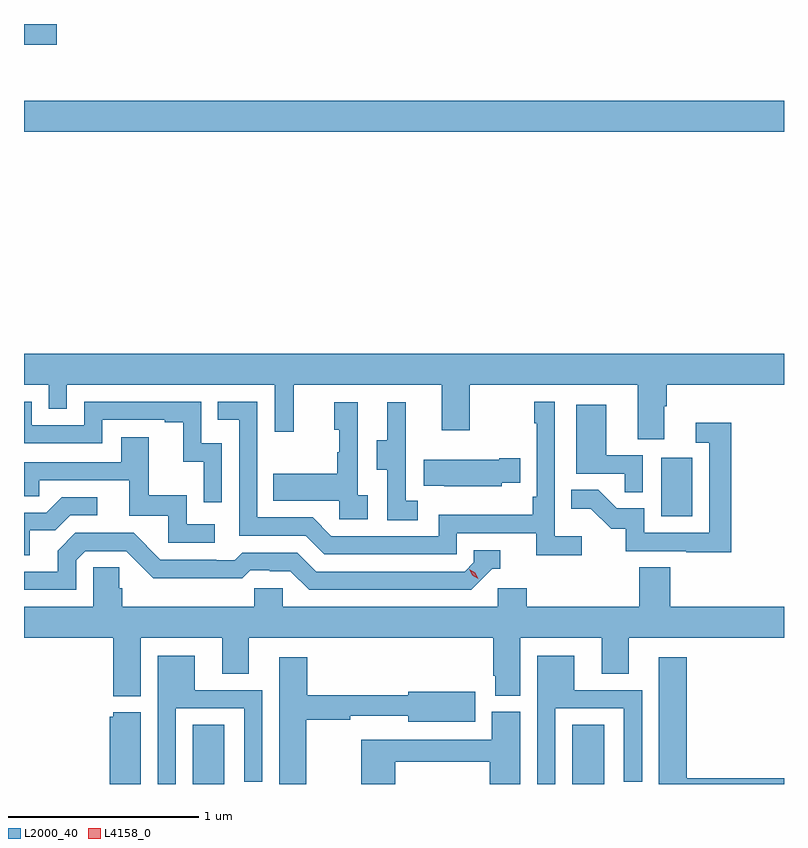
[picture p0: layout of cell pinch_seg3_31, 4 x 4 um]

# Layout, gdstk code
import gdstk
lib = gdstk.Library(unit=1e-6, precision=1e-09)
def R(c, l, rs):  # rectangles x0, y0, x1, y1
    for r in rs: c.add(gdstk.rectangle(r[:2], r[2:], *l))
def P(c, l, *ps):  # polygons
    for p in ps: c.add(gdstk.Polygon(p, *l))
L2000_40 = (2000, 40)
L4158_0 = (4158, 0)

pinch_seg3_31 = lib.new_cell('pinch_seg3_31')
R(pinch_seg3_31, L2000_40, [(1093.298,729.451,1093.465,729.764), (1095.296,729.451,1095.463,729.764), (1095.764,730.86,1095.928,731.167), (1092.41,732.884,1096.41,733.048), (1092.41,733.342,1092.583,733.451)])
P(pinch_seg3_31, L2000_40, [(1095.781,731.44),(1095.794,731.44),(1095.794,731.552),(1096.41,731.552),(1096.41,731.716),(1092.41,731.716),(1092.41,731.552),(1092.54,731.552),(1092.54,731.425),(1092.636,731.425),(1092.636,731.552),(1093.731,731.552),(1093.731,731.304),(1093.829,731.304),(1093.829,731.552),(1094.609,731.552),(1094.609,731.313),(1094.757,731.313),(1094.757,731.552),(1095.641,731.552),(1095.641,731.266),(1095.781,731.266)],
  [(1095.346,730.756),(1095.204,730.756),(1095.204,731.464),(1095.096,731.464),(1095.096,731.351),(1095.108,731.351),(1095.108,730.963),(1095.088,730.963),(1095.088,730.867),(1094.592,730.867),(1094.592,730.755),(1094.028,730.755),(1093.929,730.854),(1093.638,730.854),(1093.638,731.463),(1093.429,731.463),(1093.429,731.367),(1093.542,731.367),(1093.542,730.758),(1093.892,730.758),(1093.991,730.659),(1094.688,730.659),(1094.688,730.77),(1095.107,730.77),(1095.107,730.654),(1095.346,730.654)],
  [(1093.452,731.244),(1093.344,731.244),(1093.344,731.463),(1092.726,731.463),(1092.726,731.34),(1092.45,731.34),(1092.45,731.463),(1092.41,731.463),(1092.41,731.244),(1092.822,731.244),(1092.822,731.367),(1093.151,731.367),(1093.151,731.355),(1093.247,731.355),(1093.247,731.147),(1093.356,731.147),(1093.356,730.935),(1093.452,730.935)],
  [(1094.218,730.97),(1094.166,730.97),(1094.166,731.461),(1094.042,731.461),(1094.042,731.316),(1094.068,731.316),(1094.068,731.198),(1094.058,731.198),(1094.058,731.083),(1093.723,731.083),(1093.723,730.943),(1094.07,730.943),(1094.07,730.845),(1094.218,730.845)],
  [(1094.482,730.943),(1094.418,730.943),(1094.418,731.247),(1094.42,731.247),(1094.42,731.461),(1094.321,731.461),(1094.321,731.259),(1094.267,731.259),(1094.267,731.104),(1094.322,731.104),(1094.322,730.84),(1094.482,730.84)],
  [(1095.666,731.181),(1095.475,731.181),(1095.475,731.446),(1095.317,731.446),(1095.317,731.085),(1095.571,731.085),(1095.571,730.987),(1095.666,730.987)],
  [(1096.133,731.353),(1095.945,731.353),(1095.945,731.247),(1096.017,731.247),(1096.017,730.773),(1095.675,730.773),(1095.675,730.902),(1095.531,730.902),(1095.433,731),(1095.289,731),(1095.289,730.901),(1095.393,730.901),(1095.5,730.794),(1095.577,730.794),(1095.577,730.677),(1095.895,730.677),(1095.895,730.672),(1096.133,730.672)],
  [(1093.414,730.818),(1093.266,730.818),(1093.266,730.972),(1093.067,730.972),(1093.067,731.275),(1092.923,731.275),(1092.923,731.145),(1092.41,731.145),(1092.41,730.965),(1092.491,730.965),(1092.491,731.049),(1092.965,731.049),(1092.965,730.863),(1093.17,730.863),(1093.17,730.722),(1093.414,730.722)],
  [(1094.925,731.036),(1095.023,731.036),(1095.023,731.166),(1094.912,731.166),(1094.912,731.158),(1094.515,731.158),(1094.515,731.021),(1094.623,731.021),(1094.623,731.018),(1094.925,731.018)],
  [(1092.439,730.786),(1092.574,730.786),(1092.654,730.866),(1092.796,730.866),(1092.796,730.959),(1092.608,730.959),(1092.527,730.878),(1092.41,730.878),(1092.41,730.654),(1092.439,730.654)],
  [(1092.684,730.629),(1092.732,730.677),(1092.948,730.677),(1093.09,730.535),(1093.326,730.535),(1093.326,730.533),(1093.559,730.533),(1093.601,730.575),(1093.704,730.575),(1093.704,730.572),(1093.811,730.572),(1093.91,730.473),(1094.763,730.473),(1094.874,730.584),(1094.917,730.584),(1094.917,730.68),(1094.778,730.68),(1094.778,730.617),(1094.73,730.569),(1093.947,730.569),(1093.848,730.668),(1093.559,730.668),(1093.52,730.629),(1093.421,730.629),(1093.421,730.632),(1093.128,730.632),(1092.987,730.773),(1092.681,730.773),(1092.587,730.679),(1092.587,730.569),(1092.41,730.569),(1092.41,730.473),(1092.684,730.473)],
  [(1093.024,730.22),(1093.454,730.22),(1093.454,730.03),(1093.594,730.03),(1093.594,730.22),(1094.879,730.22),(1094.879,730.021),(1094.891,730.021),(1094.891,729.916),(1095.022,729.916),(1095.022,730.22),(1095.452,730.22),(1095.452,730.03),(1095.592,730.03),(1095.592,730.22),(1096.41,730.22),(1096.41,730.384),(1095.812,730.384),(1095.812,730.592),(1095.647,730.592),(1095.647,730.384),(1095.056,730.384),(1095.056,730.482),(1094.904,730.482),(1094.904,730.384),(1093.773,730.384),(1093.773,730.482),(1093.623,730.482),(1093.623,730.384),(1092.926,730.384),(1092.926,730.482),(1092.911,730.482),(1092.911,730.592),(1092.774,730.592),(1092.774,730.384),(1092.41,730.384),(1092.41,730.22),(1092.881,730.22),(1092.881,729.914),(1093.024,729.914)],
  [(1093.209,729.849),(1093.569,729.849),(1093.569,729.462),(1093.665,729.462),(1093.665,729.945),(1093.309,729.945),(1093.309,730.126),(1093.113,730.126),(1093.113,729.451),(1093.209,729.451)],
  [(1095.207,729.849),(1095.567,729.849),(1095.567,729.462),(1095.663,729.462),(1095.663,729.945),(1095.307,729.945),(1095.307,730.126),(1095.111,730.126),(1095.111,729.451),(1095.207,729.451)],
  [(1093.896,729.79),(1094.126,729.79),(1094.126,729.81),(1094.432,729.81),(1094.432,729.779),(1094.785,729.779),(1094.785,729.937),(1094.432,729.937),(1094.432,729.919),(1093.901,729.919),(1093.901,730.117),(1093.754,730.117),(1093.754,729.451),(1093.896,729.451)],
  [(1096.41,729.482),(1095.899,729.482),(1095.899,730.117),(1095.752,730.117),(1095.752,729.451),(1096.41,729.451)],
  [(1094.363,729.568),(1094.861,729.568),(1094.861,729.451),(1095.021,729.451),(1095.021,729.547),(1095.022,729.547),(1095.022,729.831),(1094.873,729.831),(1094.873,729.684),(1094.185,729.684),(1094.185,729.451),(1094.363,729.451)],
  [(1093.024,729.829),(1092.879,729.829),(1092.879,729.804),(1092.86,729.804),(1092.86,729.451),(1093.024,729.451)])
P(pinch_seg3_31, L4158_0, [(1094.801,730.532),(1094.77,730.55),(1094.754,730.582),(1094.754,730.582),(1094.754,730.582),(1094.785,730.564),(1094.802,730.532),(1094.802,730.532)])

lib.write_gds('pinch_seg3_31.gds')
